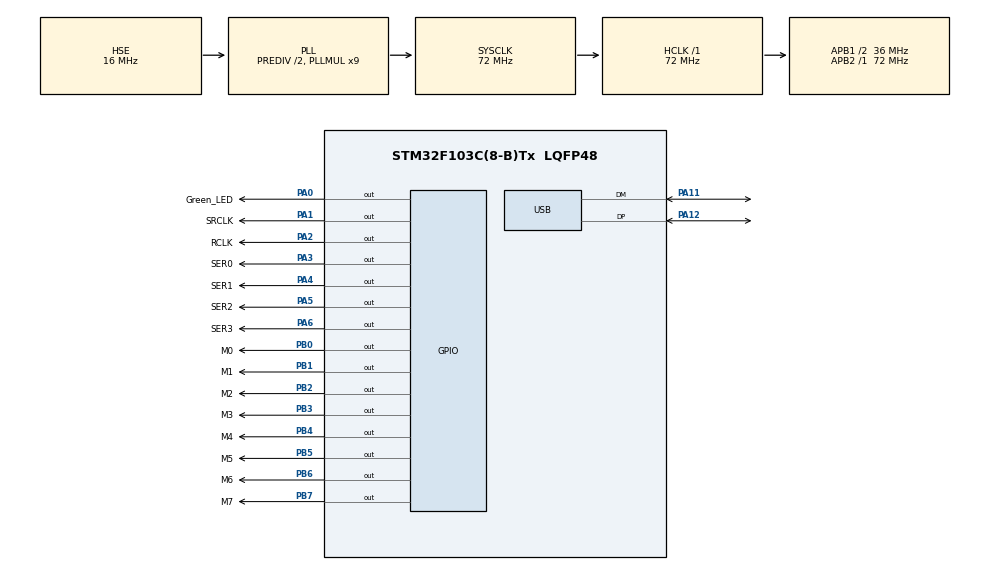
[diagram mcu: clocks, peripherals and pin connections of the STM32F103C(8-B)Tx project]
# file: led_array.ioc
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Mcu.Family=STM32F1
Mcu.Name=STM32F103C(8-B)Tx
Mcu.Package=LQFP48
NVIC.PriorityGroup=NVIC_PRIORITYGROUP_4
PA0-WKUP.GPIO_Label=Green_LED
PA0-WKUP.Signal=GPIO_Output
PA1.GPIO_Label=SRCLK
PA1.Signal=GPIO_Output
PA11.Mode=Device
PA11.Signal=USB_DM
PA12.Mode=Device
PA12.Signal=USB_DP
PA13.Mode=Serial_Wire
PA13.Signal=SYS_JTMS-SWDIO
PA14.Mode=Serial_Wire
PA14.Signal=SYS_JTCK-SWCLK
PA2.GPIO_Label=RCLK
PA2.Signal=GPIO_Output
PA3.GPIO_Label=SER0
PA3.Signal=GPIO_Output
PA4.GPIO_Label=SER1
PA4.Signal=GPIO_Output
PA5.GPIO_Label=SER2
PA5.Signal=GPIO_Output
PA6.GPIO_Label=SER3
PA6.Signal=GPIO_Output
PB0.GPIO_Label=M0
PB0.Signal=GPIO_Output
PB1.GPIO_Label=M1
PB1.Signal=GPIO_Output
PB2.GPIO_Label=M2
PB2.Signal=GPIO_Output
PB3.GPIO_Label=M3
PB3.Signal=GPIO_Output
PB4.GPIO_Label=M4
PB4.Signal=GPIO_Output
PB5.GPIO_Label=M5
PB5.Signal=GPIO_Output
PB6.GPIO_Label=M6
PB6.Signal=GPIO_Output
PB7.GPIO_Label=M7
PB7.Signal=GPIO_Output
PD0-OSC_IN.Mode=HSE-External-Oscillator
PD0-OSC_IN.Signal=RCC_OSC_IN
PD1-OSC_OUT.Mode=HSE-External-Oscillator
PD1-OSC_OUT.Signal=RCC_OSC_OUT
ProjectManager.HeapSize=0x200
ProjectManager.StackSize=0x400
ProjectManager.TargetToolchain=STM32CubeIDE
RCC.AHBFreq_Value=72000000
RCC.APB1CLKDivider=RCC_HCLK_DIV2
RCC.APB1Freq_Value=36000000
RCC.APB1TimFreq_Value=72000000
RCC.APB2Freq_Value=72000000
RCC.APB2TimFreq_Value=72000000
RCC.HCLKFreq_Value=72000000
RCC.HSEDivPLL=RCC_HSE_PREDIV_DIV2
RCC.HSE_VALUE=16000000
RCC.PLLMUL=RCC_PLL_MUL9
RCC.SYSCLKFreq_VALUE=72000000
RCC.SYSCLKSource=RCC_SYSCLKSOURCE_PLLCLK
RCC.USBFreq_Value=48000000
RCC.USBPrescaler=RCC_USBCLKSOURCE_PLL_DIV1_5
board=custom

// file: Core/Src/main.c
/* USER CODE BEGIN Header */
/**
  ******************************************************************************
  * @file           : main.c
  * @brief          : Main program body
  ******************************************************************************
  * @attention
  *
  * Copyright (c) 2025 STMicroelectronics.
  * All rights reserved.
  *
  * This software is licensed under terms that can be found in the LICENSE file
  * in the root directory of this software component.
  * If no LICENSE file comes with this software, it is provided AS-IS.
  *
  ******************************************************************************
  */
/* USER CODE END Header */
#include "main.h"
#include "led_array.h"
#include "frames.h"
/* USER CODE BEGIN Includes */
#include <stdbool.h>
/* USER CODE END Includes */

PCD_HandleTypeDef hpcd_USB_FS;

void SystemClock_Config(void);
static void MX_GPIO_Init(void);
static void MX_USB_PCD_Init(void);
/* USER CODE BEGIN PFP */
bool myFunction(int value);
/* USER CODE END PFP */

int main(void)
{

  /* MCU Configuration--------------------------------------------------------*/

  /* Reset of all peripherals, Initializes the Flash interface and the Systick. */
  HAL_Init();

  /* Configure the system clock */
  SystemClock_Config();

  /* Initialize all configured peripherals */
  MX_GPIO_Init();
  MX_USB_PCD_Init();
  /* USER CODE BEGIN 3 */

  while (1)
  {

//  writeFrame(blank32x32);

  HAL_Delay(1000);

  repeatFrame(a_s_heartFrame, 60);
  HAL_Delay(2000);
//  animateDiagonalDot(1);
  animateCornersAroundEdges(1);
  animateSpriteBubbles(SPRITE_HEART, 200, 40);
//  animateSpriteBubbles(SPRITE_SNOWFLAKE, 200, 40);
  animateFireworks(5, 400);  // 5 fireworks, tweak 400 for speed

//  animateBorderDot(1);
  repeatFrame_20(aFrame);
  repeatFrame_20(vFrame);
  repeatFrame_20(aFrame);

  HAL_Delay(100);

  repeatFrame_20(iFrame);
  repeatFrame_20(heartFrame);
  repeatFrame_20(yFrame);
  repeatFrame_20(oFrame);
  repeatFrame_20(uFrame);

  HAL_Delay(100);

//writeFrame(largerleftdiagonal_32x32);
//writeFrame(bottomRightDiagonal8_32x32);
//writeFrame(diagonal32x32);
//
//HAL_Delay(20);
//writeFrame(partialDiagonal32x32);
//HAL_Delay(100);
//writeFrame(blank32x32);
//HAL_Delay(20);
//
//writeFrame(border32x32);
//HAL_Delay(20);
//
//writeFrame(corners32x32);
//HAL_Delay(20);
//
//writeFrame(leftColumn32x32);
//HAL_Delay(20);
//
//writeFrame(fourRandomColumns32x32);

//  HAL_Delay(100);  // pause between full-frame updates
//writeFrame(centerColumn32x32);

    /* USER CODE END WHILE */

  }
  /* USER CODE END 3 */
}

void SystemClock_Config(void)
{
  RCC_OscInitTypeDef RCC_OscInitStruct = {0};
  RCC_ClkInitTypeDef RCC_ClkInitStruct = {0};
  RCC_PeriphCLKInitTypeDef PeriphClkInit = {0};

  /** Initializes the RCC Oscillators according to the specified parameters
  * in the RCC_OscInitTypeDef structure.
  */
  RCC_OscInitStruct.OscillatorType = RCC_OSCILLATORTYPE_HSE;
  RCC_OscInitStruct.HSEState = RCC_HSE_ON;
  RCC_OscInitStruct.HSEPredivValue = RCC_HSE_PREDIV_DIV2;
  RCC_OscInitStruct.HSIState = RCC_HSI_ON;
  RCC_OscInitStruct.PLL.PLLState = RCC_PLL_ON;
  RCC_OscInitStruct.PLL.PLLSource = RCC_PLLSOURCE_HSE;
  RCC_OscInitStruct.PLL.PLLMUL = RCC_PLL_MUL9;
  if (HAL_RCC_OscConfig(&RCC_OscInitStruct) != HAL_OK)
  {
    Error_Handler();
  }

  /** Initializes the CPU, AHB and APB buses clocks
  */
  RCC_ClkInitStruct.ClockType = RCC_CLOCKTYPE_HCLK|RCC_CLOCKTYPE_SYSCLK
                              |RCC_CLOCKTYPE_PCLK1|RCC_CLOCKTYPE_PCLK2;
  RCC_ClkInitStruct.SYSCLKSource = RCC_SYSCLKSOURCE_PLLCLK;
  RCC_ClkInitStruct.AHBCLKDivider = RCC_SYSCLK_DIV1;
  RCC_ClkInitStruct.APB1CLKDivider = RCC_HCLK_DIV2;
  RCC_ClkInitStruct.APB2CLKDivider = RCC_HCLK_DIV1;

  if (HAL_RCC_ClockConfig(&RCC_ClkInitStruct, FLASH_LATENCY_2) != HAL_OK)
  {
    Error_Handler();
  }
  PeriphClkInit.PeriphClockSelection = RCC_PERIPHCLK_USB;
  PeriphClkInit.UsbClockSelection = RCC_USBCLKSOURCE_PLL_DIV1_5;
  if (HAL_RCCEx_PeriphCLKConfig(&PeriphClkInit) != HAL_OK)
  {
    Error_Handler();
  }
}

static void MX_USB_PCD_Init(void)
{

  hpcd_USB_FS.Instance = USB;
  hpcd_USB_FS.Init.dev_endpoints = 8;
  hpcd_USB_FS.Init.speed = PCD_SPEED_FULL;
  hpcd_USB_FS.Init.low_power_enable = DISABLE;
  hpcd_USB_FS.Init.lpm_enable = DISABLE;
  hpcd_USB_FS.Init.battery_charging_enable = DISABLE;
  if (HAL_PCD_Init(&hpcd_USB_FS) != HAL_OK)
  {
    Error_Handler();
  }

}

static void MX_GPIO_Init(void)
{
  GPIO_InitTypeDef GPIO_InitStruct = {0};

  /* GPIO Ports Clock Enable */
  __HAL_RCC_GPIOD_CLK_ENABLE();
  __HAL_RCC_GPIOA_CLK_ENABLE();
  __HAL_RCC_GPIOB_CLK_ENABLE();

  /*Configure GPIO pin Output Level */
  HAL_GPIO_WritePin(GPIOA, Green_LED_Pin|SRCLK_Pin|RCLK_Pin|SER0_Pin
                          |SER1_Pin|SER2_Pin|SER3_Pin, GPIO_PIN_RESET);

  /*Configure GPIO pin Output Level */
  HAL_GPIO_WritePin(GPIOB, M0_Pin|M1_Pin|M2_Pin|M3_Pin
                          |M4_Pin|M5_Pin|M6_Pin|M7_Pin, GPIO_PIN_RESET);

  /*Configure GPIO pins : Green_LED_Pin SRCLK_Pin RCLK_Pin SER0_Pin
                           SER1_Pin SER2_Pin SER3_Pin */
  GPIO_InitStruct.Pin = Green_LED_Pin|SRCLK_Pin|RCLK_Pin|SER0_Pin
                          |SER1_Pin|SER2_Pin|SER3_Pin;
  GPIO_InitStruct.Mode = GPIO_MODE_OUTPUT_PP;
  GPIO_InitStruct.Pull = GPIO_NOPULL;
  GPIO_InitStruct.Speed = GPIO_SPEED_FREQ_LOW;
  HAL_GPIO_Init(GPIOA, &GPIO_InitStruct);

  /*Configure GPIO pins : M0_Pin M1_Pin M2_Pin M3_Pin
                           M4_Pin M5_Pin M6_Pin M7_Pin */
  GPIO_InitStruct.Pin = M0_Pin|M1_Pin|M2_Pin|M3_Pin
                          |M4_Pin|M5_Pin|M6_Pin|M7_Pin;
  GPIO_InitStruct.Mode = GPIO_MODE_OUTPUT_PP;
  GPIO_InitStruct.Pull = GPIO_NOPULL;
  GPIO_InitStruct.Speed = GPIO_SPEED_FREQ_LOW;
  HAL_GPIO_Init(GPIOB, &GPIO_InitStruct);

}

void Error_Handler(void)
{
  __disable_irq();
  while (1)
  {
  }
}
